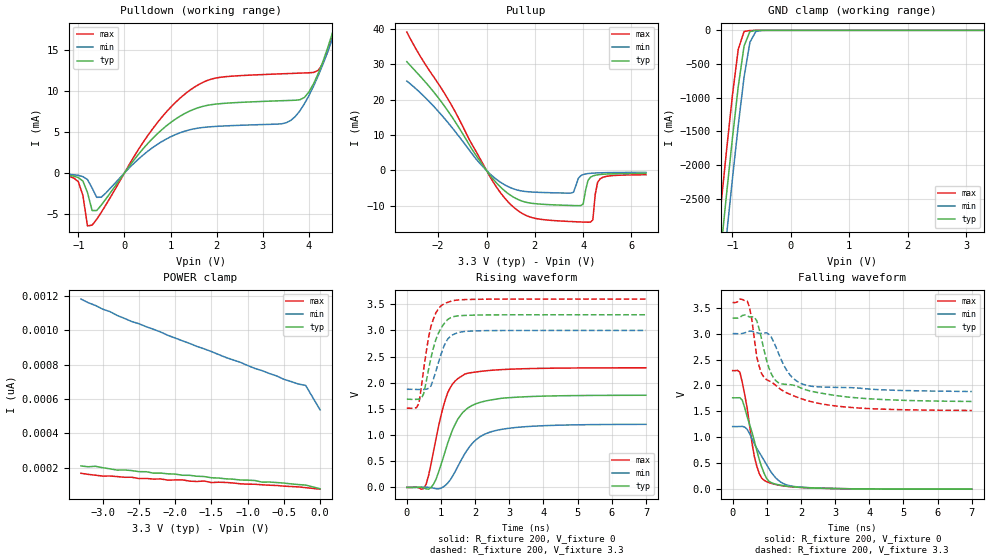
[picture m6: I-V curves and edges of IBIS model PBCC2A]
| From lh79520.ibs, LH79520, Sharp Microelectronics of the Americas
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[Model]   PBCC2A
Model_type I/O
Enable Active-High
Polarity Non-Inverting
Vinh=2.0
Vinl=0.8
Vmeas=1.65
C_comp   3.0pF   3.0pF   3.0pF
[Model Spec]
[Temperature Range] 25   85   -40
[Voltage Range]   3.3   3.0   3.6
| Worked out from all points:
|   slope of the pulldown table from 0 to 0.495 V, typ, clamps not added: 141 ohm
|   slope of the pullup table from 0 to 0.495 V, typ, clamps not added: 120 ohm
|   GND clamp passes 1 mA (typ) near -0.59 V on its own axis
|   falling waveform, R_fixture 200, V_fixture 0: 20-80 % time 473ps typ, 661ps min, 349ps max; typ from 1.76 V to 0 V
|   falling waveform, R_fixture 200, V_fixture 3.3: 20-80 % time 893ps typ, 589ps min, 807ps max; typ from 3.3 V to 1.69 V
|   rising waveform, R_fixture 200, V_fixture 0: 20-80 % time 650ps typ, 774ps min, 498ps max; typ from 0 V to 1.76 V
|   rising waveform, R_fixture 200, V_fixture 3.3: 20-80 % time 385ps typ, 346ps min, 331ps max; typ from 1.69 V to 3.3 V
[Pullup]
-3.3V     30.71mA    25.25mA    39.06mA
-1.8V     18.72mA    15.16mA    22.43mA
300mV     -2.646mA   -1.9mA     -3.514mA
1.5V      -8.703mA   -5.833mA   -12.21mA
3.5V      -9.872mA   -6.366mA   -14.41mA
3.9V      -9.906mA   -1.479mA   -14.53mA
4V        -9.458mA   -1.151mA   -14.56mA
4.3V      -1.931mA   -800.1uA   -14.57mA
4.4V      -1.552mA   -749.7uA   -13.99mA
4.5V      -1.348mA   -712.1uA   -6.734mA
4.7V      -1.137mA   -660uA     -2.369mA
6.6V      -817uA     -528uA     -1.197mA
[Pulldown]
-3.3V     -40uA      -26uA      -50uA
-1.1V     -374.3uA   -211.1uA   -602.8uA
-900mV    -981.2uA   -437.4uA   -2.71mA
-800mV    -2.388mA   -796.4uA   -6.449mA
-700mV    -4.573mA   -1.826mA   -6.357mA
-500mV    -3.906mA   -2.949mA   -4.786mA
600mV     4.15mA     3.047mA    5.297mA
1.6V      7.96mA     5.474mA    10.75mA
3.6V      8.849mA    6.392mA    12.13mA
4.2V      12.13mA    11.87mA    12.51mA
4.6V      18.85mA    17.9mA     18.55mA
6.6V      74.92mA    61.12mA    89.92mA
[GND Clamp]
-3.3V     -22.33A    -22.9A     -21.74A
-1.3V     -4.165A    -4.777A    -3.514A
-1.2V     -3.293A    -3.906A    -2.639A
-1.1V     -2.437A    -3.049A    -1.785A
-1V       -1.608A    -2.213A    -971.6mA
-900mV    -838.5mA   -1.415A    -282.7mA
-800mV    -231.2mA   -694.6mA   -16.39mA
-700mV    -18.3mA    -177.3mA   -2.444mA
-600mV    -1.112mA   -18.02mA   -425.1uA
-400mV    -3.806uA   -62.61uA   -948.1nA
3.3V      77.42pA    688.1pA    69.77pA
[POWER Clamp]
-3.3V     210.1pA    1.183nA    167.5pA
-3V       200pA      1.124nA    151.4pA
-2.8V     186.1pA    1.087nA    148.4pA
-2.6V     183.4pA    1.052nA    144.6pA
-2.5V     177pA      1.039nA    136.7pA
-1.9V     156.2pA    939.5pA    129.5pA
-1.8V     155.8pA    924.2pA    121.8pA
-1.6V     148.8pA    892.6pA    122.6pA
-1.5V     141.6pA    877pA      113.6pA
-500mV    110.6pA    715.4pA    92.7pA
-200mV    98.96pA    679.7pA    83.87pA
0V        77.51pA    536.7pA    75.1pA
[Falling Waveform]
R_fixture=200
V_fixture=0
V_fixture_min=0
V_fixture_max=0
0s        1.762V     1.207V     2.287V
212.1ps   1.764V     1.209V     2.256V
282.8ps   1.714V     1.211V     2.055V
424.2ps   1.399V     1.155V     1.568V
636.4ps   928.3mV    868.4mV    626.4mV
777.8ps   573.5mV    709.8mV    301.6mV
989.9ps   212.1mV    476mV      145.9mV
1.343ns   84.86mV    168.2mV    77.74mV
1.838ns   41.66mV    48.61mV    39.71mV
7ns       225.8uV    241.2uV    239.9uV
[Falling Waveform]
R_fixture=200
V_fixture=3.3
V_fixture_min=3.0
V_fixture_max=3.6
0s        3.3V       3V         3.6V
424.2ps   3.341V     3.034V     3.63V
494.9ps   3.322V     3.048V     3.509V
636.4ps   3.318V     3.032V     2.89V
707.1ps   3.245V     3.016V     2.55V
848.5ps   2.891V     3.006V     2.227V
1.131ns   2.226V     2.934V     2.07V
1.556ns   2.021V     2.32V      1.866V
2.333ns   1.883V     1.983V     1.682V
7ns       1.692V     1.883V     1.518V
[Rising Waveform]
R_fixture=200
V_fixture=0
V_fixture_min=0
V_fixture_max=0
0s        0V         0V         0V
424.2ps   1.332mV    1.967mV    -33.84mV
565.7ps   -28.9mV    3.401mV    62.13mV
848.5ps   146.2mV    -24.88mV   911.8mV
1.202ns   856.3mV    86.01mV    1.819V
1.485ns   1.296V     389.3mV    2.076V
1.697ns   1.468V     643.4mV    2.165V
2.121ns   1.62V      958.2mV    2.215V
2.828ns   1.707V     1.115V     2.253V
7ns       1.761V     1.206V     2.286V
[Rising Waveform]
R_fixture=200
V_fixture=3.3
V_fixture_min=3.0
V_fixture_max=3.6
0s        1.685V     1.875V     1.515V
282.8ps   1.684V     1.872V     1.524V
353.5ps   1.686V     1.871V     1.604V
424.2ps   1.697V     1.871V     1.909V
494.9ps   1.795V     1.872V     2.267V
707.1ps   2.475V     1.939V     3.08V
919.2ps   2.94V      2.373V     3.406V
1.131ns   3.162V     2.767V     3.523V
1.838ns   3.29V      2.987V     3.593V
7ns       3.3V       3V         3.6V
[Ramp]
R_load=200
dV/dt_r   1.057E+0/6.458E-10   7.234E-1/7.731E-10   1.372E+0/4.981E-10
dV/dt_f   9.649E-1/8.954E-10   6.700E-1/5.859E-10   1.249E+0/8.049E-10
|[End   PBCC2A
